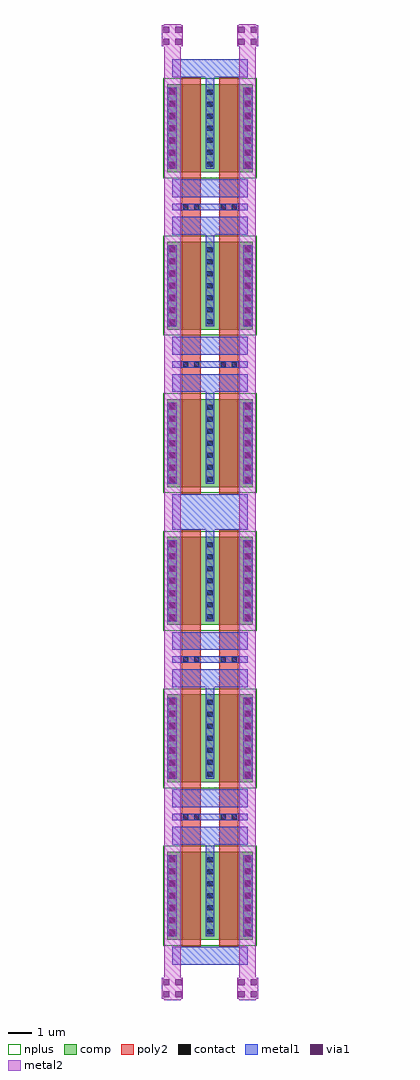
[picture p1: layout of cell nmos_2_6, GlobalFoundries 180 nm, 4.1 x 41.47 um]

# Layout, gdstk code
import gdstk
lib = gdstk.Library(unit=1e-6, precision=5e-09)
def R(c, l, rs):  # rectangles x0, y0, x1, y1
    for r in rs: c.add(gdstk.rectangle(r[:2], r[2:], *l))
def A(c, l, x, y, w, h, nx, ny, dx, dy):  # array of equal rectangles
    R(c, l, [(x+i*dx, y+j*dy, x+i*dx+w, y+j*dy+h) for i in range(nx) for j in range(ny)])
comp = (22, 0)
poly2 = (30, 0)
nplus = (32, 0)
contact = (33, 0)
metal1 = (34, 0)
via1 = (35, 0)
metal2 = (36, 0)

nmos_1_1 = lib.new_cell('nmos_1$1')
R(nmos_1_1, comp, [(0.08,0.305,0.5,4.055), (0.08,0.305,0.5,4.055), (0.5,0.305,1.68,4.055), (0.5,0.305,1.68,4.055), (1.68,0.305,2.1,4.055), (1.68,0.305,2.1,4.055)])
R(nmos_1_1, poly2, [(0.69,0.005,1.49,4.355), (0.69,0.005,1.49,4.355)])
R(nmos_1_1, nplus, [(-0.09,0.065,2.27,4.295), (-0.09,0.065,2.27,4.295)])
R(nmos_1_1, contact, [(0.18,0.54,0.4,0.76), (0.18,0.54,0.4,0.76), (1.78,0.54,2,0.76), (1.78,0.54,2,0.76), (0.18,1.05,0.4,1.27), (0.18,1.05,0.4,1.27), (1.78,1.05,2,1.27), (1.78,1.05,2,1.27), (0.18,1.56,0.4,1.78), (0.18,1.56,0.4,1.78), (1.78,1.56,2,1.78), (1.78,1.56,2,1.78), (0.18,2.07,0.4,2.29), (0.18,2.07,0.4,2.29), (1.78,2.07,2,2.29), (1.78,2.07,2,2.29), (0.18,2.58,0.4,2.8), (0.18,2.58,0.4,2.8), (1.78,2.58,2,2.8), (1.78,2.58,2,2.8), (0.18,3.09,0.4,3.31), (0.18,3.09,0.4,3.31), (1.78,3.09,2,3.31), (1.78,3.09,2,3.31), (0.18,3.6,0.4,3.82), (0.18,3.6,0.4,3.82), (1.78,3.6,2,3.82), (1.78,3.6,2,3.82)])
R(nmos_1_1, metal1, [(0.1,0.46,0.48,3.9), (0.1,0.46,0.48,3.9), (1.7,0.46,2.08,3.9), (1.7,0.46,2.08,3.9)])

nmos_2_6 = lib.new_cell('nmos_2_6')
R(nmos_2_6, poly2, [(0.8,6.6,1.6,8.94), (2.4,6.6,3.2,8.94), (0.785,7.615,1.615,7.925), (2.385,7.615,3.215,7.925), (0.8,13.29,1.6,15.63), (2.4,13.29,3.2,15.63), (0.785,14.305,1.615,14.615), (2.385,14.305,3.215,14.615), (0.8,25.83,1.6,28.17), (2.4,25.83,3.2,28.17), (0.785,26.845,1.615,27.155), (2.385,26.845,3.215,27.155), (0.8,32.52,1.6,34.86), (2.4,32.52,3.2,34.86), (0.785,33.535,1.615,33.845), (2.385,33.535,3.215,33.845)])
R(nmos_2_6, contact, [(0.855,7.66,1.075,7.88), (1.325,7.66,1.545,7.88), (2.455,7.66,2.675,7.88), (2.925,7.66,3.145,7.88), (0.855,14.35,1.075,14.57), (1.325,14.35,1.545,14.57), (2.455,14.35,2.675,14.57), (2.925,14.35,3.145,14.57), (0.855,26.89,1.075,27.11), (1.325,26.89,1.545,27.11), (2.455,26.89,2.675,27.11), (2.925,26.89,3.145,27.11), (0.855,33.58,1.075,33.8), (1.325,33.58,1.545,33.8), (2.455,33.58,2.675,33.8), (2.925,33.58,3.145,33.8)])
A(nmos_2_6, via1, 0.27, 2.735, 0.26, 0.26, 1, 7, 0, 0.52)
A(nmos_2_6, via1, 3.47, 2.735, 0.26, 0.26, 1, 7, 0, 0.52)
A(nmos_2_6, via1, 0.27, 9.425, 0.26, 0.26, 1, 7, 0, 0.52)
A(nmos_2_6, via1, 3.47, 9.425, 0.26, 0.26, 1, 7, 0, 0.52)
A(nmos_2_6, via1, 0.27, 16.115, 0.26, 0.26, 1, 7, 0, 0.52)
A(nmos_2_6, via1, 3.47, 16.115, 0.26, 0.26, 1, 7, 0, 0.52)
A(nmos_2_6, via1, 0.27, 21.965, 0.26, 0.26, 1, 7, 0, 0.52)
A(nmos_2_6, via1, 3.47, 21.965, 0.26, 0.26, 1, 7, 0, 0.52)
A(nmos_2_6, via1, 0.27, 28.655, 0.26, 0.26, 1, 7, 0, 0.52)
A(nmos_2_6, via1, 3.47, 28.655, 0.26, 0.26, 1, 7, 0, 0.52)
A(nmos_2_6, via1, 0.27, 35.345, 0.26, 0.26, 1, 7, 0, 0.52)
A(nmos_2_6, via1, 3.47, 35.345, 0.26, 0.26, 1, 7, 0, 0.52)
R(nmos_2_6, via1, [(0.01,0.105,0.27,0.365), (0.53,0.105,0.79,0.365), (3.21,0.105,3.47,0.365), (3.73,0.105,3.99,0.365), (0.01,0.625,0.27,0.885), (0.53,0.625,0.79,0.885), (3.21,0.625,3.47,0.885), (3.73,0.625,3.99,0.885), (0.01,40.575,0.27,40.835), (0.53,40.575,0.79,40.835), (3.21,40.575,3.47,40.835), (3.73,40.575,3.99,40.835), (0.01,41.095,0.27,41.355), (0.53,41.095,0.79,41.355), (3.21,41.095,3.47,41.355), (3.73,41.095,3.99,41.355)])
R(nmos_2_6, metal2, [(-0.05,0.045,0.85,0.945), (3.15,0.045,4.05,0.945), (-0.05,40.515,0.85,41.415), (3.15,40.515,4.05,41.415)])
nmos_2_6.add(gdstk.FlexPath([(2,6.145),(2,6.6)], 0.38, ends="flush", simple_path=True, layer=34, datatype=0))  # metal1
nmos_2_6.add(gdstk.FlexPath([(0.4,7.77),(3.6,7.77)], 0.28, ends="flush", simple_path=True, layer=34, datatype=0))  # metal1
nmos_2_6.add(gdstk.FlexPath([(0.4,6.975),(3.6,6.975)], 0.75, ends="flush", simple_path=True, layer=34, datatype=0))  # metal1
nmos_2_6.add(gdstk.FlexPath([(0.4,8.565),(3.6,8.565)], 0.75, ends="flush", simple_path=True, layer=34, datatype=0))  # metal1
nmos_2_6.add(gdstk.FlexPath([(0.4,34.485),(3.6,34.485)], 0.75, ends="flush", simple_path=True, layer=34, datatype=0))  # metal1
nmos_2_6.add(gdstk.FlexPath([(0.4,33.69),(3.6,33.69)], 0.28, ends="flush", simple_path=True, layer=34, datatype=0))  # metal1
nmos_2_6.add(gdstk.FlexPath([(0.4,32.895),(3.6,32.895)], 0.75, ends="flush", simple_path=True, layer=34, datatype=0))  # metal1
nmos_2_6.add(gdstk.FlexPath([(0.4,39.585),(3.6,39.585)], 0.75, ends="flush", simple_path=True, layer=34, datatype=0))  # metal1
nmos_2_6.add(gdstk.FlexPath([(2,32.065),(2,32.52)], 0.38, ends="flush", simple_path=True, layer=34, datatype=0))  # metal1
nmos_2_6.add(gdstk.FlexPath([(2,38.755),(2,39.21)], 0.38, ends="flush", simple_path=True, layer=34, datatype=0))  # metal1
nmos_2_6.add(gdstk.FlexPath([(0.4,1.875),(3.6,1.875)], 0.75, ends="flush", simple_path=True, layer=34, datatype=0))  # metal1
nmos_2_6.add(gdstk.FlexPath([(2,19.98),(2,19.525)], 0.38, ends="flush", simple_path=True, layer=34, datatype=0))  # metal1
nmos_2_6.add(gdstk.FlexPath([(2,12.835),(2,13.29)], 0.38, ends="flush", simple_path=True, layer=34, datatype=0))  # metal1
nmos_2_6.add(gdstk.FlexPath([(0.4,14.46),(3.6,14.46)], 0.28, ends="flush", simple_path=True, layer=34, datatype=0))  # metal1
nmos_2_6.add(gdstk.FlexPath([(2,25.375),(2,25.83)], 0.38, ends="flush", simple_path=True, layer=34, datatype=0))  # metal1
nmos_2_6.add(gdstk.FlexPath([(0.4,27.795),(3.6,27.795)], 0.75, ends="flush", simple_path=True, layer=34, datatype=0))  # metal1
nmos_2_6.add(gdstk.FlexPath([(0.4,27),(3.6,27)], 0.28, ends="flush", simple_path=True, layer=34, datatype=0))  # metal1
nmos_2_6.add(gdstk.FlexPath([(0.4,26.205),(3.6,26.205)], 0.75, ends="flush", simple_path=True, layer=34, datatype=0))  # metal1
nmos_2_6.add(gdstk.FlexPath([(0.4,20.73),(3.6,20.73)], 1.5, ends="flush", simple_path=True, layer=34, datatype=0))  # metal1
nmos_2_6.add(gdstk.FlexPath([(0.4,13.665),(3.6,13.665)], 0.75, ends="flush", simple_path=True, layer=34, datatype=0))  # metal1
nmos_2_6.add(gdstk.FlexPath([(0.4,15.255),(3.6,15.255)], 0.75, ends="flush", simple_path=True, layer=34, datatype=0))  # metal1
nmos_2_6.add(gdstk.FlexPath([(3.6,-0.005),(3.6,41.465)], 0.7, ends="flush", simple_path=True, layer=36, datatype=0))  # metal2
nmos_2_6.add(gdstk.FlexPath([(0.4,-0.005),(0.4,41.465)], 0.7, ends="flush", simple_path=True, layer=36, datatype=0))  # metal2
nmos_2_6.add(gdstk.Reference(nmos_1_1, (1.71,28.165)))
nmos_2_6.add(gdstk.Reference(nmos_1_1, (1.71,21.475)))
nmos_2_6.add(gdstk.Reference(nmos_1_1, (0.11,21.475)))
nmos_2_6.add(gdstk.Reference(nmos_1_1, (0.11,15.625)))
nmos_2_6.add(gdstk.Reference(nmos_1_1, (1.71,15.625)))
nmos_2_6.add(gdstk.Reference(nmos_1_1, (1.71,8.935)))
nmos_2_6.add(gdstk.Reference(nmos_1_1, (0.11,8.935)))
nmos_2_6.add(gdstk.Reference(nmos_1_1, (0.11,28.165)))
nmos_2_6.add(gdstk.Reference(nmos_1_1, (1.71,2.245)))
nmos_2_6.add(gdstk.Reference(nmos_1_1, (0.11,2.245)))
nmos_2_6.add(gdstk.Reference(nmos_1_1, (1.71,34.855)))
nmos_2_6.add(gdstk.Reference(nmos_1_1, (0.11,34.855)))

lib.write_gds('nmos_2_6.gds')
